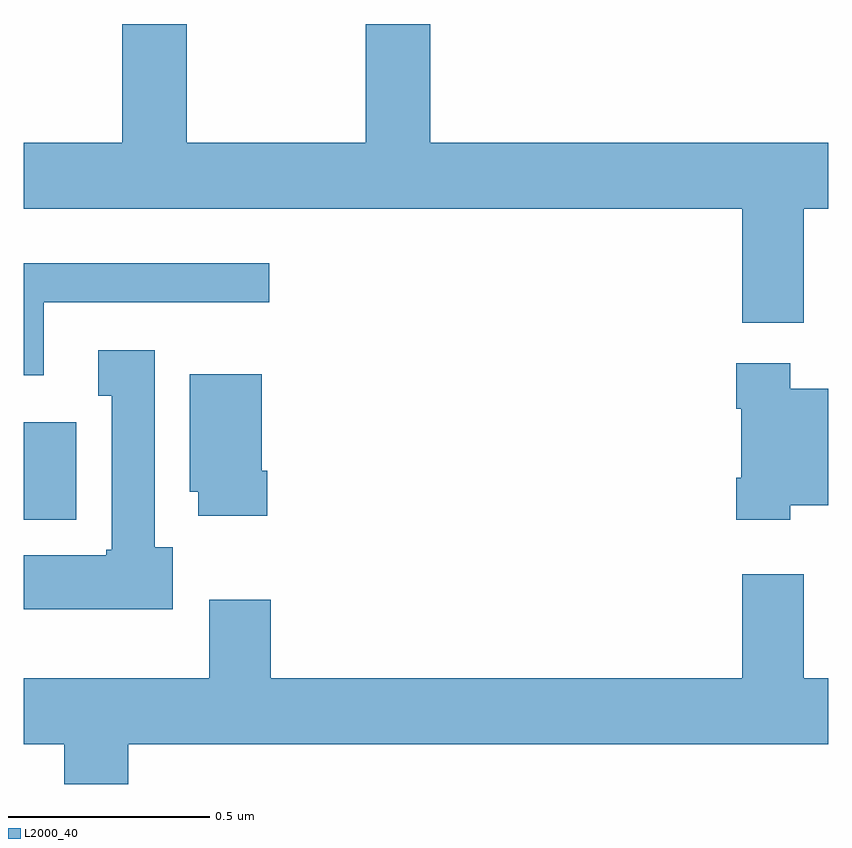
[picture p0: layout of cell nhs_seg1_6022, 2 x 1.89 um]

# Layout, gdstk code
import gdstk
lib = gdstk.Library(unit=1e-6, precision=1e-09)
def R(c, l, rs):  # rectangles x0, y0, x1, y1
    for r in rs: c.add(gdstk.rectangle(r[:2], r[2:], *l))
def P(c, l, *ps):  # polygons
    for p in ps: c.add(gdstk.Polygon(p, *l))
L2000_40 = (2000, 40)

nhs_seg1_6022 = lib.new_cell('nhs_seg1_6022')
R(nhs_seg1_6022, L2000_40, [(186,542.966,186.13,543.208)])
P(nhs_seg1_6022, L2000_40, [(187.939,543.74),(188,543.74),(188,543.904),(187.01,543.904),(187.01,544.199),(186.85,544.199),(186.85,543.904),(186.405,543.904),(186.405,544.199),(186.245,544.199),(186.245,543.904),(186,543.904),(186,543.74),(187.787,543.74),(187.787,543.456),(187.939,543.456)],
  [(186.049,543.507),(186.61,543.507),(186.61,543.604),(186,543.604),(186,543.326),(186.049,543.326)],
  [(186.37,542.898),(186.325,542.898),(186.325,543.388),(186.185,543.388),(186.185,543.275),(186.218,543.275),(186.218,542.892),(186.205,542.892),(186.205,542.878),(186,542.878),(186,542.744),(186.37,542.744)],
  [(187.906,543.002),(188,543.002),(188,543.292),(187.906,543.292),(187.906,543.355),(187.772,543.355),(187.772,543.242),(187.784,543.242),(187.784,543.07),(187.772,543.07),(187.772,542.966),(187.906,542.966)],
  [(186.605,543.088),(186.592,543.088),(186.592,543.328),(186.413,543.328),(186.413,543.036),(186.434,543.036),(186.434,542.976),(186.605,542.976)],
  [(186.26,542.408),(188,542.408),(188,542.572),(187.939,542.572),(187.939,542.83),(187.787,542.83),(187.787,542.572),(186.614,542.572),(186.614,542.767),(186.461,542.767),(186.461,542.572),(186,542.572),(186,542.408),(186.1,542.408),(186.1,542.309),(186.26,542.309)])

lib.write_gds('nhs_seg1_6022.gds')
